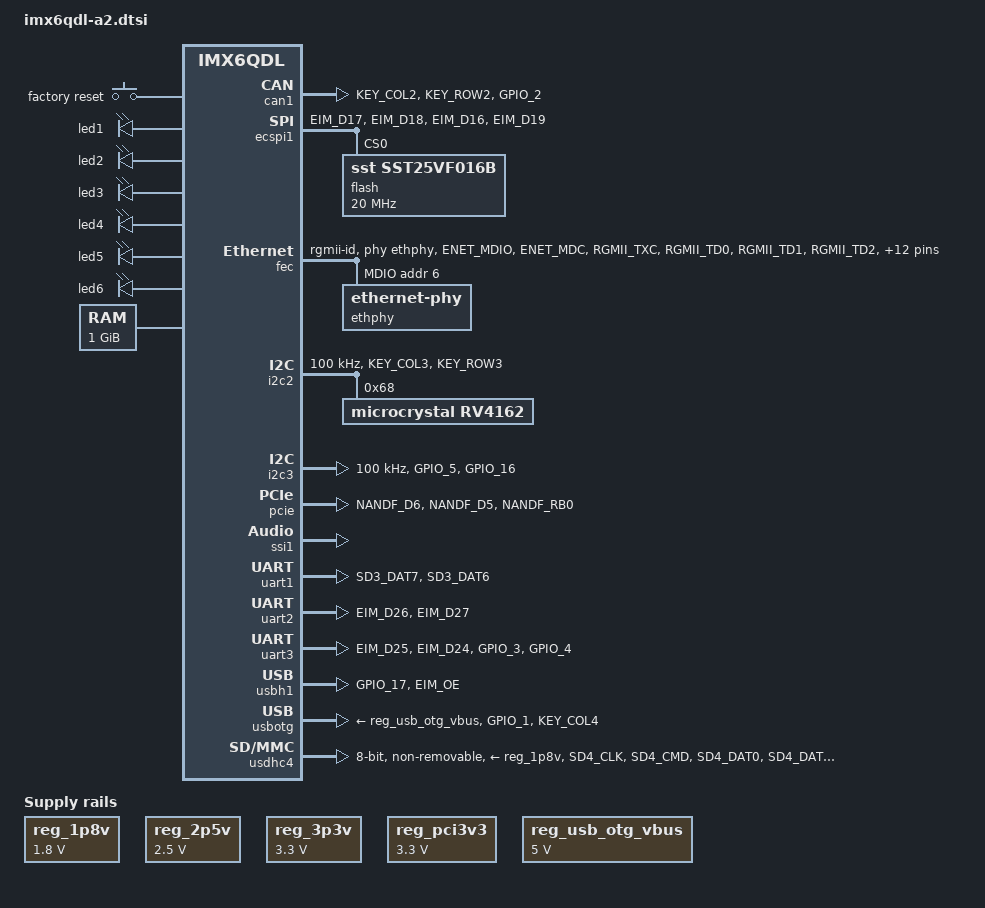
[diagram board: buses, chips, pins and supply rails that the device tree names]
// SPDX-License-Identifier: GPL-2.0 OR X11
/*
 * Copyright 2021 Boundary Devices, Inc.
 */
#include <dt-bindings/gpio/gpio.h>
#include <dt-bindings/input/input.h>

&iomuxc {
	pinctrl-names = "default";
	pinctrl-0 = <&pinctrl_hog>;

	pinctrl_audmux: audmuxgrp {
		fsl,pins = <
			/* To PCIe connector */
			MX6QDL_PAD_CSI0_DAT7__AUD3_RXD		0x130b0
			MX6QDL_PAD_CSI0_DAT4__AUD3_TXC		0x130b0
			MX6QDL_PAD_CSI0_DAT5__AUD3_TXD		0x110b0
			MX6QDL_PAD_CSI0_DAT6__AUD3_TXFS		0x130b0
		>;
	};

	pinctrl_ecspi1: ecspi1grp {
		fsl,pins = <
			MX6QDL_PAD_EIM_D17__ECSPI1_MISO		0x100b1
			MX6QDL_PAD_EIM_D18__ECSPI1_MOSI		0x100b1
			MX6QDL_PAD_EIM_D16__ECSPI1_SCLK		0x000b1
#define GP_ECSPI1_NOR_CS	<&gpio3 19 GPIO_ACTIVE_LOW>
			MX6QDL_PAD_EIM_D19__GPIO3_IO19		0x0b0b1
		>;
	};

	pinctrl_enet: enetgrp {
		fsl,pins = <
			MX6QDL_PAD_ENET_MDIO__ENET_MDIO		0x1b0b0
			MX6QDL_PAD_ENET_MDC__ENET_MDC		0x1b0b0
			MX6QDL_PAD_RGMII_TXC__RGMII_TXC		0x100b0
			MX6QDL_PAD_RGMII_TD0__RGMII_TD0		0x100b0
			MX6QDL_PAD_RGMII_TD1__RGMII_TD1		0x100b0
			MX6QDL_PAD_RGMII_TD2__RGMII_TD2		0x100b0
			MX6QDL_PAD_RGMII_TD3__RGMII_TD3		0x100b0
			MX6QDL_PAD_RGMII_TX_CTL__RGMII_TX_CTL	0x100b0
			MX6QDL_PAD_ENET_REF_CLK__ENET_TX_CLK	0x100b0
			MX6QDL_PAD_RGMII_RXC__RGMII_RXC		0x1b0b0
			MX6QDL_PAD_RGMII_RD0__RGMII_RD0		0x1b0b0
			MX6QDL_PAD_RGMII_RD1__RGMII_RD1		0x1b0b0
			MX6QDL_PAD_RGMII_RD2__RGMII_RD2		0x1b0b0
			MX6QDL_PAD_RGMII_RD3__RGMII_RD3		0x1b0b0
			MX6QDL_PAD_RGMII_RX_CTL__RGMII_RX_CTL	0x1b0b0
#define GP_ENET_PHY_RESET	<&gpio1 27 GPIO_ACTIVE_LOW>
			MX6QDL_PAD_ENET_RXD0__GPIO1_IO27	0x030b0
#define GPIRQ_ENET_PHY		<&gpio1 28 IRQ_TYPE_LEVEL_LOW>
			MX6QDL_PAD_ENET_TX_EN__GPIO1_IO28	0x1b0b0
#define GPIRQ_ENET		<&gpio1 6 IRQ_TYPE_LEVEL_HIGH>
			MX6QDL_PAD_GPIO_6__ENET_IRQ		0x000b1
		>;
	};

	pinctrl_flexcan1: flexcan1grp {
		fsl,pins = <
			MX6QDL_PAD_KEY_COL2__FLEXCAN1_TX	0x1b0b0
			MX6QDL_PAD_KEY_ROW2__FLEXCAN1_RX	0x1b0b0
#define GP_FLEXCAN1_STANDBY	<&gpio1 2 GPIO_ACTIVE_HIGH>
			MX6QDL_PAD_GPIO_2__GPIO1_IO02		0x0b0b0
		>;
	};

	pinctrl_gpio_keys: gpio-keysgrp {
		fsl,pins = <
#define GP_S0_FACTORY_RESET	<&gpio4 6 GPIO_ACTIVE_LOW>
			MX6QDL_PAD_KEY_COL0__GPIO4_IO06		0x1b0b0
		>;
	};

	pinctrl_gpio_leds: gpio-ledsgrp {
		fsl,pins = <
#define GP_GPIOLEDS_1		<&gpio2 22 GPIO_ACTIVE_HIGH>
			MX6QDL_PAD_EIM_A16__GPIO2_IO22		0x130b0
#define GP_GPIOLEDS_2		<&gpio2 21 GPIO_ACTIVE_HIGH>
			MX6QDL_PAD_EIM_A17__GPIO2_IO21		0x130b0
#define GP_GPIOLEDS_3		<&gpio2 20 GPIO_ACTIVE_HIGH>
			MX6QDL_PAD_EIM_A18__GPIO2_IO20		0x130b0
#define GP_GPIOLEDS_4		<&gpio2 19 GPIO_ACTIVE_HIGH>
			MX6QDL_PAD_EIM_A19__GPIO2_IO19		0x130b0
#define GP_GPIOLEDS_5		<&gpio6 6 GPIO_ACTIVE_HIGH>
			MX6QDL_PAD_EIM_A23__GPIO6_IO06		0x130b0
#define GP_GPIOLEDS_6		<&gpio5 4 GPIO_ACTIVE_HIGH>
			MX6QDL_PAD_EIM_A24__GPIO5_IO04		0x130b0
		>;
	};

	pinctrl_hog: hoggrp {
		fsl,pins = <
			MX6QDL_PAD_EIM_CS1__GPIO2_IO24		0x1b0b0		/* Spare to R18 */
			MX6QDL_PAD_NANDF_CS1__GPIO6_IO14	0x1b0b0		/* Spare to R17 */
		>;
	};

	pinctrl_i2c2: i2c2grp {
		fsl,pins = <
			MX6QDL_PAD_KEY_COL3__I2C2_SCL		0x4001b8b1
			MX6QDL_PAD_KEY_ROW3__I2C2_SDA		0x4001b8b1
		>;
	};

	pinctrl_i2c2_1: i2c2_1grp {
		fsl,pins = <
#define GP_I2C2_SCL	<&gpio4 12 GPIO_OPEN_DRAIN>
			MX6QDL_PAD_KEY_COL3__GPIO4_IO12		0x4001b8b1
#define GP_I2C2_SDA	<&gpio4 13 GPIO_OPEN_DRAIN>
			MX6QDL_PAD_KEY_ROW3__GPIO4_IO13		0x4001b8b1
		>;
	};

	pinctrl_i2c2_rv4162: i2c2-rv4162grp {
		fsl,pins = <
#define GPIRQ_RTC_RV4162	<&gpio4 15 IRQ_TYPE_LEVEL_LOW>
			MX6QDL_PAD_KEY_ROW4__GPIO4_IO15		0x1b0b0
		>;
	};

	pinctrl_i2c3: i2c3grp {
		fsl,pins = <
			MX6QDL_PAD_GPIO_5__I2C3_SCL		0x4001b8b1
			MX6QDL_PAD_GPIO_16__I2C3_SDA		0x4001b8b1
		>;
	};

	pinctrl_i2c3_1: i2c3_1grp {
		fsl,pins = <
#define GP_I2C3_SCL	<&gpio1 5 GPIO_OPEN_DRAIN>
			MX6QDL_PAD_GPIO_5__GPIO1_IO05		0x4001b8b1
#define GP_I2C3_SDA	<&gpio7 11 GPIO_OPEN_DRAIN>
			MX6QDL_PAD_GPIO_16__GPIO7_IO11		0x4001b8b1
		>;
	};

	pinctrl_pcie: pciegrp {
		fsl,pins = <
#define GP_PCIE_RESET		<&gpio2 6 GPIO_ACTIVE_LOW>
			MX6QDL_PAD_NANDF_D6__GPIO2_IO06		0x030b0		/* MODEM_RESET */
#define GP_PCIE_DISABLE		<&gpio2 5 GPIO_ACTIVE_LOW>
			MX6QDL_PAD_NANDF_D5__GPIO2_IO05		0x030b0		/* MODEM_ON_OFF */
			MX6QDL_PAD_NANDF_RB0__GPIO6_IO10	0x1b0b0		/* WAKE modem */
		>;
	};

	pinctrl_reg_pci3v3: reg-pci3v3grp {
		fsl,pins = <
#define GP_REG_PCI3V3	<&gpio2 23 GPIO_ACTIVE_HIGH>
			MX6QDL_PAD_EIM_CS0__GPIO2_IO23		0x030b0
		>;
	};

	pinctrl_reg_usb_otg_vbus: reg-usb-otg-vbusgrp {
		fsl,pins = <
#define GP_REG_USBOTG	<&gpio3 22 GPIO_ACTIVE_HIGH>
			MX6QDL_PAD_EIM_D22__GPIO3_IO22		0x030b0
		>;
	};

	pinctrl_uart1: uart1grp {
		fsl,pins = <
			MX6QDL_PAD_SD3_DAT7__UART1_TX_DATA	0x1b0b1
			MX6QDL_PAD_SD3_DAT6__UART1_RX_DATA	0x1b0b1
		>;
	};

	pinctrl_uart2: uart2grp {
		fsl,pins = <
			MX6QDL_PAD_EIM_D26__UART2_TX_DATA	0x1b0b1
			MX6QDL_PAD_EIM_D27__UART2_RX_DATA	0x1b0b1
		>;
	};

	pinctrl_uart3: uart3grp {
		fsl,pins = <
			MX6QDL_PAD_EIM_D25__UART3_RX_DATA	0x1b0b1
			MX6QDL_PAD_EIM_D24__UART3_TX_DATA	0x1b0b1
#define GP_UART3_RX_ACT	<&gpio1 3 GPIO_ACTIVE_HIGH>
			MX6QDL_PAD_GPIO_3__GPIO1_IO03		0x0b0b0
#define GP_UART3_TX_ACT	<&gpio1 4 GPIO_ACTIVE_HIGH>
			MX6QDL_PAD_GPIO_4__GPIO1_IO04		0x0b0b0
		>;
	};

	pinctrl_usbh1: usbh1grp {
		fsl,pins = <
#define GP_USBH1_HUB_RESET	<&gpio7 12 GPIO_ACTIVE_LOW>
			MX6QDL_PAD_GPIO_17__GPIO7_IO12		0x0b0b0
#define GP_AX88772A_RESET	<&gpio2 25 GPIO_ACTIVE_LOW>
			MX6QDL_PAD_EIM_OE__GPIO2_IO25		0x0b0b0
		>;
	};

	pinctrl_usbotg: usbotggrp {
		fsl,pins = <
			MX6QDL_PAD_GPIO_1__USB_OTG_ID		0x17059
			MX6QDL_PAD_KEY_COL4__USB_OTG_OC		0x1b0b0
		>;
	};

	pinctrl_usdhc4: usdhc4grp {
		fsl,pins = <
			MX6QDL_PAD_SD4_CLK__SD4_CLK		0x10059
			MX6QDL_PAD_SD4_CMD__SD4_CMD		0x17059
			MX6QDL_PAD_SD4_DAT0__SD4_DATA0		0x17059
			MX6QDL_PAD_SD4_DAT1__SD4_DATA1		0x17059
			MX6QDL_PAD_SD4_DAT2__SD4_DATA2		0x17059
			MX6QDL_PAD_SD4_DAT3__SD4_DATA3		0x17059
			MX6QDL_PAD_SD4_DAT4__SD4_DATA4		0x17059
			MX6QDL_PAD_SD4_DAT5__SD4_DATA5		0x17059
			MX6QDL_PAD_SD4_DAT6__SD4_DATA6		0x17059
			MX6QDL_PAD_SD4_DAT7__SD4_DATA7		0x17059
#define GP_EMMC_RESET	<&gpio2 0 GPIO_ACTIVE_LOW>
			MX6QDL_PAD_NANDF_D0__GPIO2_IO00		0x1b0b0
		>;
	};
};

/ {
	aliases {
		i2c0 = &i2c2;
		i2c1 = &i2c3;
		mmc0 = &usdhc4;
	};

	gpio-keys {
		compatible = "gpio-keys";
		pinctrl-names = "default";
		pinctrl-0 = <&pinctrl_gpio_keys>;

		factory_reset {
			label = "factory reset";
			gpios = GP_S0_FACTORY_RESET;
			linux,code = <KEY_BACK>;
		};
	};

	gpio_leds: leds {
		compatible = "gpio-leds";
		pinctrl-names = "default";
		pinctrl-0 = <&pinctrl_gpio_leds>;

		led1 {
			default-state = "off";
			gpios = GP_GPIOLEDS_1;
			retain-state-suspended;
		};

		led2 {
			default-state = "off";
			gpios = GP_GPIOLEDS_2;
			retain-state-suspended;
		};

		led3 {
			default-state = "off";
			gpios = GP_GPIOLEDS_3;
			retain-state-suspended;
		};

		led4 {
			default-state = "off";
			gpios = GP_GPIOLEDS_4;
			retain-state-suspended;
		};

		led5 {
			default-state = "off";
			gpios = GP_GPIOLEDS_5;
			retain-state-suspended;
		};

		led6 {
			default-state = "off";
			gpios = GP_GPIOLEDS_6;
			retain-state-suspended;
		};
	};

	memory {
		reg = <0x10000000 0x40000000>;
	};

	reg_1p8v: regulator-1v8 {
		compatible = "regulator-fixed";
		regulator-always-on;
		regulator-max-microvolt = <1800000>;
		regulator-min-microvolt = <1800000>;
		regulator-name = "1P8V";
	};

	reg_2p5v: regulator-2v5 {
		compatible = "regulator-fixed";
		regulator-always-on;
		regulator-max-microvolt = <2500000>;
		regulator-min-microvolt = <2500000>;
		regulator-name = "2P5V";
	};

	reg_3p3v: regulator-3v3 {
		compatible = "regulator-fixed";
		regulator-always-on;
		regulator-max-microvolt = <3300000>;
		regulator-min-microvolt = <3300000>;
		regulator-name = "3P3V";
	};

	reg_pci3v3: regulator-pci3v3 {
		compatible = "regulator-fixed";
		enable-active-high;
		gpio = GP_REG_PCI3V3;
		pinctrl-names = "default";
		pinctrl-0 = <&pinctrl_reg_pci3v3>;
		regulator-always-on;
		regulator-max-microvolt = <3300000>;
		regulator-min-microvolt = <3300000>;
		regulator-name = "pci3v3";
	};

	reg_usb_otg_vbus: regulator-usb-otg-vbus {
		compatible = "regulator-fixed";
		enable-active-high;
		gpio = GP_REG_USBOTG;
		pinctrl-names = "default";
		pinctrl-0 = <&pinctrl_reg_usb_otg_vbus>;
		regulator-max-microvolt = <5000000>;
		regulator-min-microvolt = <5000000>;
		regulator-name = "usb_otg_vbus";
	};

	v4l2_out {
		compatible = "fsl,mxc_v4l2_output";
		status = "okay";
	};
};

&audmux {
	pinctrl-names = "default";
	pinctrl-0 = <&pinctrl_audmux>;
	status = "disabled";
};

&can1 {
	pinctrl-names = "default";
	pinctrl-0 = <&pinctrl_flexcan1>;
	status = "okay";
	trx-stby-gpio = GP_FLEXCAN1_STANDBY;
};

&ecspi1 {
	cs-gpios = GP_ECSPI1_NOR_CS;
	pinctrl-names = "default";
	pinctrl-0 = <&pinctrl_ecspi1>;
	status = "okay";

	flash: m25p80@0 {
		compatible = "sst,sst25vf016b";
		reg = <0>;
		spi-max-frequency = <20000000>;
		#address-cells = <1>;
		#size-cells = <1>;

		mtd@00000000 {
			label = "U-Boot";
			reg = <0x0 0xC0000>;
		};

		mtd@000C0000 {
			label = "env";
			reg = <0xC0000 0x2000>;
		};
		mtd@000C2000 {
			label = "splash";
			reg = <0xC2000 0x13e000>;
		};
	};
};

&fec {
	fsl,err006687-workaround-present;
	interrupts-extended = GPIRQ_ENET,
			      <&gpc 0 119 IRQ_TYPE_LEVEL_HIGH>;
	phy-handle = <&ethphy>;
	phy-mode = "rgmii-id";
#if 0
	phy-reset-gpios = GP_ENET_PHY_RESET;
#endif
	pinctrl-names = "default";
	pinctrl-0 = <&pinctrl_enet>;
	status = "okay";

	mdio {
		#address-cells = <0>;
		#size-cells = <1>;

		ethphy: ethernet-phy@6 {
			reg = <6>;
			interrupts-extended = GPIRQ_ENET_PHY;
			rxc-skew-ps = <3000>;
			rxd0-skew-ps = <0>;
			rxd1-skew-ps = <0>;
			rxd2-skew-ps = <0>;
			rxd3-skew-ps = <0>;
			rxdv-skew-ps = <0>;
			txc-skew-ps = <3000>;
			txd0-skew-ps = <0>;
			txd1-skew-ps = <0>;
			txd2-skew-ps = <0>;
			txd3-skew-ps = <0>;
			txen-skew-ps = <0>;
		};
	};
};

&i2c2 {
	clock-frequency = <100000>;
	pinctrl-names = "default", "gpio";
	pinctrl-0 = <&pinctrl_i2c2>;
	pinctrl-1 = <&pinctrl_i2c2_1>;
	scl-gpios = GP_I2C2_SCL;
	sda-gpios = GP_I2C2_SDA;
	status = "okay";

	rv4162@68 {
		compatible = "microcrystal,rv4162";
		pinctrl-names = "default";
		pinctrl-0 = <&pinctrl_i2c2_rv4162>;
		reg = <0x68>;
		interrupts-extended = GPIRQ_RTC_RV4162;
	};
};

&i2c3 {
	/* PCIe connector */
	clock-frequency = <100000>;
	pinctrl-names = "default", "gpio";
	pinctrl-0 = <&pinctrl_i2c3>;
	pinctrl-1 = <&pinctrl_i2c3_1>;
	scl-gpios = GP_I2C3_SCL;
	sda-gpios = GP_I2C3_SDA;
	status = "okay";
};

&pcie {
	disable-gpio = GP_PCIE_DISABLE;
	pinctrl-names = "default";
	pinctrl-0 = <&pinctrl_pcie>;
	reset-gpios = GP_PCIE_RESET;
	status = "okay";
	vpcie-supply = <&reg_pci3v3>;
};

&ssi1 {
	fsl,mode = "i2s-slave";
	status = "okay";
};

&uart1 {
	pinctrl-names = "default";
	pinctrl-0 = <&pinctrl_uart1>;
	status = "okay";
};

&uart2 {
	pinctrl-names = "default";
	pinctrl-0 = <&pinctrl_uart2>;
	status = "okay";
};

&uart3 {
	control-gpios = GP_UART3_RX_ACT, GP_UART3_TX_ACT;
	linux,rs485-enabled-at-boot-time;
#define M_RX_ACT	1
#define M_TX_ACT	2
	off_levels = <3>;
	pinctrl-names = "default";
	pinctrl-0 = <&pinctrl_uart3>;
	rxact_levels = <0>;
	rxact_mask = <M_RX_ACT>;
	rs232_levels = <3>;
	rs232_txen_levels = <0>;
	rs232_txen_mask = <M_TX_ACT>;
	rs485_levels = <3>;
	rs485_txen_levels = <0>;
	rs485_txen_mask = <M_TX_ACT>;
	status = "okay";
	uart-has-rs485-half-duplex;
};

&usbh1 {
	disable-over-current;
	pinctrl-names = "default";
	pinctrl-0 = <&pinctrl_usbh1>;
	reset-gpios = GP_USBH1_HUB_RESET, GP_AX88772A_RESET;
	status = "okay";
};

&usbotg {
	pinctrl-names = "default";
	pinctrl-0 = <&pinctrl_usbotg>;
	status = "okay";
	vbus-supply = <&reg_usb_otg_vbus>;
};

&usdhc4 {
	bus-width = <8>;
	keep-power-in-suspend;
	non-removable;
	pinctrl-names = "default";
	pinctrl-0 = <&pinctrl_usdhc4>;
	status = "okay";
	vmmc-supply = <&reg_1p8v>;
	vqmmc-1-8-v;
};
